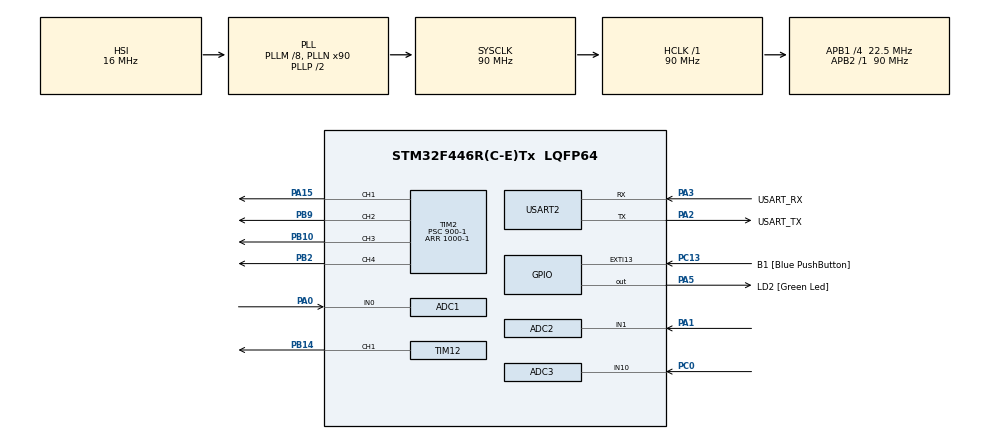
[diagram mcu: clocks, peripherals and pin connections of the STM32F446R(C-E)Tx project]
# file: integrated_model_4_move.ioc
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ADC1.Channel-0\#ChannelRegularConversion=ADC_CHANNEL_0
ADC1.ClockPrescaler=ADC_CLOCK_SYNC_PCLK_DIV4
ADC1.NbrOfConversionFlag=1
ADC1.Rank-0\#ChannelRegularConversion=1
ADC1.SamplingTime-0\#ChannelRegularConversion=ADC_SAMPLETIME_3CYCLES
ADC1.master=1
ADC2.Channel-0\#ChannelRegularConversion=ADC_CHANNEL_1
ADC2.ClockPrescaler=ADC_CLOCK_SYNC_PCLK_DIV4
ADC2.NbrOfConversionFlag=1
ADC2.Rank-0\#ChannelRegularConversion=1
ADC2.SamplingTime-0\#ChannelRegularConversion=ADC_SAMPLETIME_3CYCLES
ADC3.Channel-0\#ChannelRegularConversion=ADC_CHANNEL_10
ADC3.ClockPrescaler=ADC_CLOCK_SYNC_PCLK_DIV4
ADC3.NbrOfConversionFlag=1
ADC3.Rank-0\#ChannelRegularConversion=1
ADC3.SamplingTime-0\#ChannelRegularConversion=ADC_SAMPLETIME_3CYCLES
Mcu.Family=STM32F4
Mcu.Name=STM32F446R(C-E)Tx
Mcu.Package=LQFP64
NVIC.ADC_IRQn=true\:0\:0\:false\:false\:true\:true\:true\:true
NVIC.PriorityGroup=NVIC_PRIORITYGROUP_0
NVIC.TIM1_TRG_COM_TIM11_IRQn=true\:0\:0\:false\:false\:true\:true\:true\:true
NVIC.TIM1_UP_TIM10_IRQn=true\:0\:0\:false\:false\:true\:true\:true\:true
NVIC.TIM2_IRQn=true\:0\:0\:false\:false\:true\:true\:true\:true
NVIC.TIM8_BRK_TIM12_IRQn=true\:0\:0\:false\:false\:true\:true\:true\:true
NVIC.TIM8_TRG_COM_TIM14_IRQn=true\:0\:0\:false\:false\:true\:true\:true\:true
NVIC.TIM8_UP_TIM13_IRQn=true\:0\:0\:false\:false\:true\:true\:true\:true
PA0-WKUP.Signal=ADCx_IN0
PA1.Signal=ADCx_IN1
PA13.GPIO_Label=TMS
PA13.Mode=Serial_Wire
PA13.Signal=SYS_JTMS-SWDIO
PA14.GPIO_Label=TCK
PA14.Mode=Serial_Wire
PA14.Signal=SYS_JTCK-SWCLK
PA15.Signal=S_TIM2_CH1_ETR
PA2.GPIO_Label=USART_TX
PA2.Mode=Asynchronous
PA2.Signal=USART2_TX
PA3.GPIO_Label=USART_RX
PA3.Mode=Asynchronous
PA3.Signal=USART2_RX
PA5.GPIO_Label=LD2 [Green Led]
PA5.Signal=GPIO_Output
PB10.Signal=S_TIM2_CH3
PB14.Signal=S_TIM12_CH1
PB2.Signal=S_TIM2_CH4
PB3.GPIO_Label=SWO
PB3.Signal=SYS_JTDO-SWO
PB9.Signal=S_TIM2_CH2
PC0.Signal=ADCx_IN10
PC13.GPIO_Label=B1 [Blue PushButton]
PC13.GPIO_ModeDefaultEXTI=GPIO_MODE_IT_FALLING
PC13.Signal=GPXTI13
PC14-OSC32_IN.Mode=LSE-External-Oscillator
PC14-OSC32_IN.Signal=RCC_OSC32_IN
PC15-OSC32_OUT.Mode=LSE-External-Oscillator
PC15-OSC32_OUT.Signal=RCC_OSC32_OUT
PH0-OSC_IN.Mode=HSE-External-Oscillator
PH0-OSC_IN.Signal=RCC_OSC_IN
PH1-OSC_OUT.Mode=HSE-External-Oscillator
PH1-OSC_OUT.Signal=RCC_OSC_OUT
ProjectManager.HeapSize=0x800
ProjectManager.StackSize=0x800
ProjectManager.TargetToolchain=STM32CubeIDE
RCC.48MHZClocksFreq_Value=84000000
RCC.AHBFreq_Value=90000000
RCC.APB1CLKDivider=RCC_HCLK_DIV4
RCC.APB1Freq_Value=22500000
RCC.APB1TimFreq_Value=45000000
RCC.APB2Freq_Value=90000000
RCC.APB2TimFreq_Value=90000000
RCC.CortexFreq_Value=90000000
RCC.FLatency-AdvancedSettings=FLASH_LATENCY_2
RCC.HCLKFreq_Value=90000000
RCC.HSE_VALUE=8000000
RCC.HSI_VALUE=16000000
RCC.PLLM=8
RCC.PLLN=90
RCC.SYSCLKFreq_VALUE=90000000
RCC.SYSCLKSource=RCC_SYSCLKSOURCE_PLLCLK
RCC.USBFreq_Value=90000000
RCC.VCOOutputFreq_Value=180000000
SH.ADCx_IN0.0=ADC1_IN0,IN0
SH.ADCx_IN1.0=ADC2_IN1,IN1
SH.ADCx_IN10.0=ADC3_IN10,IN10
SH.S_TIM12_CH1.0=TIM12_CH1,PWM Generation1 CH1
SH.S_TIM2_CH1_ETR.0=TIM2_CH1,PWM Generation1 CH1
SH.S_TIM2_CH2.0=TIM2_CH2,PWM Generation2 CH2
SH.S_TIM2_CH3.0=TIM2_CH3,PWM Generation3 CH3
SH.S_TIM2_CH4.0=TIM2_CH4,PWM Generation4 CH4
STMicroelectronics.X-CUBE-AI.8.0.1.ActivationBufferSizeList=76
STMicroelectronics.X-CUBE-AI.8.0.1.ActivationBuffers=pool0
STMicroelectronics.X-CUBE-AI.8.0.1.ActivationNames=pool0
STMicroelectronics.X-CUBE-AI.8.0.1.ActivationSizes=AI_NETWORK_DATA_ACTIVATION_1_SIZE
STMicroelectronics.X-CUBE-AI.8.0.1.HeapSize=0x800
STMicroelectronics.X-CUBE-AI.8.0.1.InternalRamActivationBufferMaxSize=AI_NETWORK_DATA_ACTIVATIONS_SIZE
STMicroelectronics.X-CUBE-AI.8.0.1.LatestDirectoryUsed-d0ceae4381f5af6d3a112abc9d57ed1af1215f2bdab2fd25595786534e137b8e=F\:\\Graduation Project\\Git_foulder\\5_Movements\\Model\\2 sensors
STMicroelectronics.X-CUBE-AI.8.0.1.MaximumNumberOfInputLayer=1
STMicroelectronics.X-CUBE-AI.8.0.1.MaximumNumberOfOutputLayer=1
STMicroelectronics.X-CUBE-AI.8.0.1.MaximumSizeOfInputLayer=1
STMicroelectronics.X-CUBE-AI.8.0.1.MaximumSizeOfOutputLayer=1
STMicroelectronics.X-CUBE-AI.8.0.1.ModelActualCompression-d0ceae4381f5af6d3a112abc9d57ed1af1215f2bdab2fd25595786534e137b8e=0.0
STMicroelectronics.X-CUBE-AI.8.0.1.ModelCompression-d0ceae4381f5af6d3a112abc9d57ed1af1215f2bdab2fd25595786534e137b8e=None
STMicroelectronics.X-CUBE-AI.8.0.1.ModelFlashOccupation-d0ceae4381f5af6d3a112abc9d57ed1af1215f2bdab2fd25595786534e137b8e=31436
STMicroelectronics.X-CUBE-AI.8.0.1.ModelHashList=d0ceae4381f5af6d3a112abc9d57ed1af1215f2bdab2fd25595786534e137b8e
STMicroelectronics.X-CUBE-AI.8.0.1.ModelKind-d0ceae4381f5af6d3a112abc9d57ed1af1215f2bdab2fd25595786534e137b8e=KERAS
STMicroelectronics.X-CUBE-AI.8.0.1.ModelMacc-d0ceae4381f5af6d3a112abc9d57ed1af1215f2bdab2fd25595786534e137b8e=253
STMicroelectronics.X-CUBE-AI.8.0.1.ModelName-d0ceae4381f5af6d3a112abc9d57ed1af1215f2bdab2fd25595786534e137b8e=network
STMicroelectronics.X-CUBE-AI.8.0.1.ModelNameList=network
STMicroelectronics.X-CUBE-AI.8.0.1.ModelRamOccupation-d0ceae4381f5af6d3a112abc9d57ed1af1215f2bdab2fd25595786534e137b8e=76
STMicroelectronics.X-CUBE-AI.8.0.1.ModelStructureFile-d0ceae4381f5af6d3a112abc9d57ed1af1215f2bdab2fd25595786534e137b8e=F\:\\Graduation Project\\Git_foulder\\5_Movements\\Model\\2 sensors\\model_10_7_2_4_movement_4.h5
STMicroelectronics.X-CUBE-AI.8.0.1.ModelType-d0ceae4381f5af6d3a112abc9d57ed1af1215f2bdab2fd25595786534e137b8e=Saved model
STMicroelectronics.X-CUBE-AI.8.0.1.ReadyForCodeGeneration=true
STMicroelectronics.X-CUBE-AI.8.0.1.StackSize=0x800
STMicroelectronics.X-CUBE-AI.8.0.1.WorkingBufferStartAddrList=0xFFFFFFFF
STMicroelectronics.X-CUBE-AI.8.0.1.XAaCUBEAaAICcArtificialOoIntelligenceJjCore=true
STMicroelectronics.X-CUBE-AI.8.0.1.copyWeightToRam=false
STMicroelectronics.X-CUBE-AI.8.0.1.copyWeightToRam-d0ceae4381f5af6d3a112abc9d57ed1af1215f2bdab2fd25595786534e137b8e=false
STMicroelectronics.X-CUBE-AI.8.0.1.customLayerConfigEnabled=false
STMicroelectronics.X-CUBE-AI.8.0.1.customLayerConfigEnabled-d0ceae4381f5af6d3a112abc9d57ed1af1215f2bdab2fd25595786534e137b8e=false
STMicroelectronics.X-CUBE-AI.8.0.1.useInputAllocation=true
STMicroelectronics.X-CUBE-AI.8.0.1.useInputAllocation-d0ceae4381f5af6d3a112abc9d57ed1af1215f2bdab2fd25595786534e137b8e=true
STMicroelectronics.X-CUBE-AI.8.0.1.useOutputAllocation=true
STMicroelectronics.X-CUBE-AI.8.0.1.useOutputAllocation-d0ceae4381f5af6d3a112abc9d57ed1af1215f2bdab2fd25595786534e137b8e=true
TIM12.Channel-PWM\ Generation1\ CH1=TIM_CHANNEL_1
TIM12.Period=1000-1
TIM12.Prescaler=900-1
TIM2.Channel-PWM\ Generation1\ CH1=TIM_CHANNEL_1
TIM2.Channel-PWM\ Generation2\ CH2=TIM_CHANNEL_2
TIM2.Channel-PWM\ Generation3\ CH3=TIM_CHANNEL_3
TIM2.Channel-PWM\ Generation4\ CH4=TIM_CHANNEL_4
TIM2.Period=1000-1
TIM2.Prescaler=900-1
USART2.VirtualMode=VM_ASYNC
VP_CRC_VS_CRC.Mode=CRC_Activate
VP_STMicroelectronics.X-CUBE-AI_VS_ArtificialOoIntelligenceJjXAaCUBEAaAI_8.0.1.Mode=ArtificialOoIntelligenceJjXAaCUBEAaAI
VP_TIM10_VS_ClockSourceINT.Mode=Enable_Timer
VP_TIM11_VS_ClockSourceINT.Mode=Enable_Timer
VP_TIM12_VS_ClockSourceINT.Mode=Internal
VP_TIM13_VS_ClockSourceINT.Mode=Enable_Timer
VP_TIM14_VS_ClockSourceINT.Mode=Enable_Timer
VP_TIM2_VS_ClockSourceINT.Mode=Internal
board=NUCLEO-F446RE

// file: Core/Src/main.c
/* USER CODE BEGIN Header */
/**
 **************************
 * @file           : main.c
 * @brief          : Main program body
 **************************
 * @attention
 *
 * Copyright (c) 2023 STMicroelectronics.
 * All rights reserved.
 *
 * This software is licensed under terms that can be found in the LICENSE file
 * in the root directory of this software component.
 * If no LICENSE file comes with this software, it is provided AS-IS.
 *
 **************************
 */
/* USER CODE END Header */
#include "main.h"
#include "adc.h"
#include "crc.h"
#include "tim.h"
#include "usart.h"
#include "gpio.h"

/* USER CODE BEGIN Includes */
#include "PWM.h"
#include "MAPPING.h"
#include "servo.h"
#include "FEAT_EXT.h"
#include "NORM_interface.h"

#include "sensor_readings.h"
#include "app_x-cube-ai.h"

#include <stdio.h>

#include "network.h"
#include "network_data.h"
#include "movements.h"
/* USER CODE END Includes */

/* USER CODE BEGIN PD */
#define Vth 				40

#define MODEL_THRESHOLD		0.5

/* USER CODE END PD */

/* USER CODE BEGIN PV */
uint32_t sensor1;
uint32_t sensor2;
uint32_t sensor3;
uint32_t sensor;
float Fest,Gun,OK,Good,Two,Rest;
float arr[4] = {0};
int32_t Mode = 0;
/* USER CODE END PV */

void SystemClock_Config(void);

/* USER CODE BEGIN 0 */
void HAL_TIM_PeriodElapsedCallback(TIM_HandleTypeDef *htim)
{
	if (htim->Instance == TIM10)
	{
		HAL_GPIO_TogglePin(GPIOA, GPIO_PIN_5);
	}
	else if (htim->Instance == TIM11)
	{
		HAL_GPIO_TogglePin(GPIOA, GPIO_PIN_5);
	}

	else if (htim->Instance == TIM13)
	{
		HAL_GPIO_TogglePin(GPIOA, GPIO_PIN_5);
	}
	else if (htim->Instance == TIM14)
	{
		HAL_GPIO_TogglePin(GPIOA, GPIO_PIN_5);
	}
}

/********	Global Variables	********/
static ai_handle network = AI_HANDLE_NULL;

AI_ALIGNED(32)
static ai_u8 activations[AI_NETWORK_DATA_ACTIVATIONS_SIZE];

AI_ALIGNED(32)
static ai_float in_data[AI_NETWORK_IN_1_SIZE];

AI_ALIGNED(32)
static ai_float out_data[AI_NETWORK_OUT_1_SIZE];

static ai_buffer *ai_input;
static ai_buffer *ai_output;

int Model_Init(void)
{
	ai_error err;
	const ai_handle acts[] = { activations };
	err = ai_network_create_and_init(&network, acts, NULL);

	ai_input = ai_network_inputs_get(network, NULL);
	ai_output = ai_network_outputs_get(network, NULL);

	return 0;
}

int Model_Run(const void *in_data, void *out_data)
{
	ai_i32 n_batch;
	ai_error err;

	/* 1 - Update IO handlers with the data payload */
	ai_input[0].data = AI_HANDLE_PTR(in_data);
	ai_output[0].data = AI_HANDLE_PTR(out_data);

	/* 2 - Perform the inference */
	n_batch = ai_network_run(network, &ai_input[0], &ai_output[0]);
	if (n_batch != 1) {
		err = ai_network_get_error(network);
	};

	return 0;
}
/* USER CODE END 0 */

int main(void)
{
	/* USER CODE BEGIN 1 */
	uint32_t Local_u32Counter,Local_u32_RealData[3][250],Local_u32AvgCounter;

	uint8_t Local_u8Avg = 5;
	uint8_t Local_u8Max,Local_u8ModeArr[Local_u8Avg],Local_u8Sum=0;
	float Feat_f32Arr[3][6] , Norm_f32Arr[3][6];

	/* USER CODE END 1 */

	/* MCU Configuration--------------------------------------------------------*/

	/* Reset of all peripherals, Initializes the Flash interface and the Systick. */
	HAL_Init();

	/* Configure the system clock */
	SystemClock_Config();

	/* Initialize all configured peripherals */
	MX_GPIO_Init();
	MX_USART2_UART_Init();
	MX_ADC1_Init();
	MX_ADC2_Init();
	MX_ADC3_Init();
	MX_CRC_Init();
	MX_TIM2_Init();
	MX_TIM10_Init();
	MX_TIM11_Init();
	MX_TIM12_Init();
	MX_TIM13_Init();
	MX_TIM14_Init();
	/* USER CODE BEGIN 2 */
	Model_Init();

	/* Start GPs Timers */
	HAL_TIM_Base_Start_IT(&htim10);
	HAL_TIM_Base_Start_IT(&htim11);
	HAL_TIM_Base_Start_IT(&htim13);
	HAL_TIM_Base_Start_IT(&htim14);

	/* Initialize PWM Timers*/
	HAL_TIM_PWM_Start(&htim2, TIM_CHANNEL_1);
	HAL_TIM_PWM_Start(&htim2, TIM_CHANNEL_2);
	HAL_TIM_PWM_Start(&htim2, TIM_CHANNEL_3);
	HAL_TIM_PWM_Start(&htim2, TIM_CHANNEL_4);
	HAL_TIM_PWM_Start(&htim12, TIM_CHANNEL_1);
	//
	//	SERVO_t Servo1,Servo2,Servo3,Servo4,Servo5;
	//	Servo1.Pin = Servo_PA15;
	//	Servo2.Pin = Servo_PB10;
	//	Servo3.Pin = Servo_PB14;
	//	Servo4.Pin = Servo_PB2;
	//	Servo5.Pin = Servo_PB9;
	SERVO_t Servo1, Servo2, Servo3, Servo4, Servo5;
	Servo1.Pin = Servo_PA15;
	Servo2.Pin = Servo_PB10;
	Servo3.Pin = Servo_PB14;
	Servo4.Pin = Servo_PB2;
	Servo5.Pin = Servo_PB9;
//	init_servo();
	/*********	Testing	*********/
	uint32_t Move2[250] = {0};
	uint32_t Move1[250] = {
			664,  167,   13,   82,  340,  865,  469,  663,  144,  316,   15,
			356,  513,  560,  258,  108,  409,  456,  110,  383,  240,  227,
			314,  866, 1667,  156,  419,  760,   32,  441,  432,  307,  294,
			169,  234,  436,  703,  391,   82,  345,  100,  131,   58,  362,
			222,  323,   47,   41,   40,  273,  141,  405,  805,  471,  468,
			11,  127,  344,  178,  107,    5,  329,   80,   46,  190,    5,
			411,   64,   65,  180,  133,  367,  590,  196,   61,   11,  170,
			144,  454,  460,  188,  431,  112,  375,  208,  198,  139,    2,
			131,   52,   39,  155,   38,  137,  289,  535,  144,  305,  387,
			163, 1396,   43,  178,  219,  563,  268,  846,   62,  224,   37,
			318,  126,  535,  126,  221,  123,   41,    4,  100,  156,  514,
			145,  116,  159,   29,  171,   39,   66,  182,  332,   63,   85,
			7,  112,   58,   81,  130,  192,  198,  609,   57,  108,   15,
			106,  111,   92,   55,  100,  207,   88,  228,  254,   98,  250,
			63,    4,   80,  271,  228,   11,    1,   71,   95,   15,  656,
			275,  164,  150,  729,   85,   54,   71,   44,   34,   93,  220,
			86,  309,  428,   39,  285,  440,   86,  203,  254,   79,  156,
			12,  582,  275,  235,  481,   99,  190,    2,   93,  176,   96,
			250,  333,  269,   94,  346,  757,   43,  475,  179,  474,  198,
			227,  353,  159,   27,  233,   95,  407,  248,  152,  249,   68,
			276,   79,    5,  217,   95,   29,    8,  104,   20,  156,  189,
			146,   93,  125,   96,    5,  160,   51, 1495, 1831,   71,  599,
			181,  250,  219,  246,   47,  213,   23,  225
	};

	uint32_t Move0[SENSOR_NUM][250] = {
			{    0,    0,    0,    0,   42,    0,    0,    0,    0,    0,    0,
					0,    0,  185,    0,    0,    0,    0,   83,    0,  100,  411,
					0,    0,  616,  500,  147,    0,    0,   65,    0,    0,    0,
					0,    0,   21,   78,    0,    0,  790,  128,    0,    0,    0,
					322,  379,    0,    0,    0,    0,  577,  204,    0,    0,    0,
					0,  319,    0,    0,    0,    0,    0,    0,    0,    0,  293,
					0,    0,    0,    0,   53,    0,    0,    0,    0,   34,    0,
					26,    0,    0,  165,  123,    0,    0,    0,   57,  127,    0,
					0,    0,    0,    0,    0,    0,    0,  254,    0,    0,   74,
					0,    0,  216,    0,    0,    0,  272,    0,    0,    0,    0,
					0,    0,    0,    0,  303,  333,    0,    0,    0,    0,    0,
					0,    0,   53,    0,    0,    0,    0,   86,    0,    0,    0,
					0,    0,    0,  243,    0,    0,  149,    0,    0,    0,    0,
					16,    0,    0,  514,  248,   15,    0,    0,  219,   54,    0,
					0,    0,    0,    0,    0,    0,    0,    0,    0,    0,  181,
					155,    0,    0,  402,    0,  103,    0,    0,    0,    0,    0,
					0,    0,   30,  621,    0,    0,    0,  242,  419,   62,    0,
					55,    0,    0, 1211,  128,  571,  363,    0,    0,    0,    0,
					98,  327,    0,    0,    0,    0,    0,    0,    0,    0,    0,
					0,    0,   52,    0,    0,    0,    0,    0,  120,   84,    0,
					0,   25,    0,  552,  494,    0,    0,  410,  299,  419,    0,
					0,    0,    0,  448,  321,    0,    0,    0,    0,   38,    0,
					24,    0,    0,    0,   55,   47,    0,   86},
					{  0.,    0.,  192.,    0.,  309.,  566.,  631.,  238.,    0.,
							0.,  202.,    5.,  175.,    0.,    0.,    0.,  172.,    0.,
							0.,  106.,    0.,   71.,    0.,    0.,    0.,  105.,  650.,
							3.,    0.,   24.,    0.,  134.,    0.,    0.,  306.,    0.,
							81.,   39.,    0.,    0.,   55.,    0.,    0.,    0.,    0.,
							10.,    0.,    0.,    0.,   13.,  582.,  235.,    0.,    0.,
							101.,    0.,    0.,    0.,    0.,  377.,  112.,  312.,    0.,
							0.,    0.,  494.,   34.,    0.,    0.,  228.,    0.,    0.,
							349.,    0.,  128.,   68.,  301.,  178.,    0.,  343.,    0.,
							489.,  581.,    0.,  261.,  229.,  212.,  408.,    0.,  248.,
							504.,    0.,    0.,    0.,    0.,  168.,    0.,    0.,    0.,
							0.,  156.,    0.,    0.,   82.,    9.,   46.,    0.,    0.,
							0.,    0.,   52.,    0.,    0.,    0.,   65.,  168.,  108.,
							0.,   13.,    0.,    0.,   11.,  208.,  145.,    0.,    0.,
							0.,  176.,  427.,  204.,    0.,    0.,   73.,  130.,   34.,
							108.,    0.,  362.,   24.,    0.,    0.,    0.,  225.,   91.,
							0.,    0.,  770.,  301.,    0.,    0.,    0.,  490.,   24.,
							149.,    0.,    0.,  351.,  151.,    0.,  331.,  228.,    0.,
							22.,   16.,    0.,  355.,    0.,    0.,  133.,  242.,   36.,
							0.,    0.,   92.,  408.,   80.,    0.,    0.,  286.,  284.,
							0.,    0.,    0.,  361.,    4.,  364.,    0.,  143.,    0.,
							0.,  139.,  606.,  412.,  277.,  979.,    0.,    0.,   17.,
							0., 1165.,    0.,   97.,   81.,   29.,  250.,    0.,  560.,
							0.,    0.,    0.,    0.,  181.,    0.,    0.,    0.,  112.,
							226.,  657.,    0.,    0.,    0.,  791.,  283., 1183., 1460.,
							0.,    0.,  314., 1105.,  723.,   72.,    0.,    0.,    0.,
							579.,  594.,    0.,    0.,    0.,  103.,    0.,  138.,    0.,
							0.,    0.,  173.,  181.,  368.,   64.,  125.},
							{   2, 2343,  198,  757,  359,  553,  152,    0,    0,  292,  896,
									113,   53,    0,  226,  185,   31,  472,  422,    0,   32,   15,
									172,    0,  463,  535, 1535,   45,   52,   93,   59,  330,   94,
									180,   47,   29,   21,  149,    0,    5,  103,  200,  105,    1,
									70,  346,   54,  179,  782,  162,    0,   37,   10,   52,    0,
									289,   78,   95,    0,   42,   97,  216,  184,   76,  195,  269,
									16,    0,  120,  283,  717,   58,  213,   16,    1,   17,  507,
									1081,   92,  368,  173,    0,  745,    5,   30,   12,  650,  281,
									74,   83,    0,    9,   82,    0,  161,   18,    0,   68,  404,
									18,  392,  243,  454,  456,  147,    4,    0,   10,  362,    0,
									268,  228,    2,   60,    0,   11,  579,  180,  193,    0,    4,
									212,    3,  328,   39,  119,  183,   59,   87,   91,    7,  243,
									190,    0,   10,   85,   12,   37,   50,    5,  536,  116,  439,
									66,  158,   14,  141,   98,  335,  129,  481,   83,  215,   53,
									7,   44,  423,   26,  198,    0,  202,   14,   10,   45,  442,
									325,   33,  265,    6,   90,   11,  850,   64,  386,  188,  196,
									0,   19,   17,   93,    1,    1,  231,    0,   87,  209,   36,
									89,   13,  375,  212,  260,   17,    1,  157,   15,  739,  406,
									211,  250,  357,  149,   90,   32,   27,  146,    1,   44,    0,
									25,  246,    0,    0,    6,  566,   17,    0,  217,  239,    0,
									10,   12,  294,  685,  207,  107,  167,  146,    1,   37,  109,
									408,  283,  144,  310,   40,    2,    0,   81,   20,   57,   60,
									90,    0,  167,  318,  569,   72,    4,   49}};

	FEAT_EXT_f32_AllFeat(Move0 ,*Feat_f32Arr);
	NORM_f32_AllNorm(*Feat_f32Arr, *Norm_f32Arr);

	/*Model Running*/

	float Local_f32KoftaFeat[18],Local_f32KoftaNorm[18];

	//	Local_f32KoftaFeat[VAR_IDX ] = FEAT_EXT_f32_Variance(Move0[0],DATA_SIZE);
	//	Local_f32KoftaFeat[RMS_IDX ] = FEAT_EXT_f32_RMS(Local_f32KoftaFeat[VAR_IDX]);
	//	Local_f32KoftaFeat[MEAN_IDX] = FEAT_EXT_f32_Mean(Move0[0],DATA_SIZE);
	//	Local_f32KoftaFeat[SSC_IDX] = FEAT_EXT_u32_SlopeSignChange(Move0[0],DATA_SIZE);
	//	Local_f32KoftaFeat[ZC_IDX  ] = FEAT_EXT_u32_ZeroCrossing(Move0[0],DATA_SIZE) ;
	//	Local_f32KoftaFeat[WVL_IDX ] = FEAT_EXT_u32_WaveformLength(Move0[0],DATA_SIZE);
	//
	//	Local_f32KoftaFeat[VAR_IDX+6] = FEAT_EXT_f32_Variance(Move0[1],DATA_SIZE);
	//	Local_f32KoftaFeat[RMS_IDX+6] = FEAT_EXT_f32_RMS(Local_f32KoftaFeat[VAR_IDX+6]);
	//	Local_f32KoftaFeat[MEAN_IDX+6] = FEAT_EXT_f32_Mean(Move0[1],DATA_SIZE);
	//	Local_f32KoftaFeat[SSC_IDX+6] = FEAT_EXT_u32_SlopeSignChange(Move0[1],DATA_SIZE);
	//	Local_f32KoftaFeat[ZC_IDX+6] = FEAT_EXT_u32_ZeroCrossing(Move0[1],DATA_SIZE) ;
	//	Local_f32KoftaFeat[WVL_IDX+6] = FEAT_EXT_u32_WaveformLength(Move0[1],DATA_SIZE);
	//
	//
	//	Local_f32KoftaFeat[VAR_IDX+12] = FEAT_EXT_f32_Variance(Move0[2],DATA_SIZE);
	//	Local_f32KoftaFeat[RMS_IDX+12] = FEAT_EXT_f32_RMS(Local_f32KoftaFeat[VAR_IDX+12]);
	//	Local_f32KoftaFeat[MEAN_IDX+12] = FEAT_EXT_f32_Mean(Move0[2],DATA_SIZE);
	//	Local_f32KoftaFeat[SSC_IDX+12] = FEAT_EXT_u32_SlopeSignChange(Move0[2],DATA_SIZE);
	//	Local_f32KoftaFeat[ZC_IDX+12] = FEAT_EXT_u32_ZeroCrossing(Move0[2],DATA_SIZE) ;
	//	Local_f32KoftaFeat[WVL_IDX+12] = FEAT_EXT_u32_WaveformLength(Move0[2],DATA_SIZE);
	//
	//	Local_f32KoftaNorm[VAR_IDX ] = NORM_f32_Variance(SNS1, Local_f32KoftaFeat[VAR_IDX]);
	//	Local_f32KoftaNorm[RMS_IDX ] = NORM_f32_RMS(SNS1, Local_f32KoftaFeat[RMS_IDX]);
	//	Local_f32KoftaNorm[MEAN_IDX] = NORM_f32_Mean(SNS1, Local_f32KoftaFeat[MEAN_IDX]);
	//	Local_f32KoftaNorm[SSC_IDX]  = NORM_f32_SlopeSignChange(SNS1, Local_f32KoftaFeat[SSC_IDX]);
	//	Local_f32KoftaNorm[ZC_IDX  ] = NORM_f32_ZeroCrossing(SNS1, Local_f32KoftaFeat[ZC_IDX]);
	//	Local_f32KoftaNorm[WVL_IDX ] = NORM_f32_WaveformLength(SNS1, Local_f32KoftaFeat[WVL_IDX]);
	//
	//
	//
	//	Local_f32KoftaNorm[VAR_IDX+6] = NORM_f32_Variance(SNS2, Local_f32KoftaFeat[VAR_IDX+6]);
	//	Local_f32KoftaNorm[RMS_IDX+6] = NORM_f32_RMS(SNS2, Local_f32KoftaFeat[RMS_IDX+6]);
	//	Local_f32KoftaNorm[MEAN_IDX+6] = NORM_f32_Mean(SNS2, Local_f32KoftaFeat[MEAN_IDX+6]);
	//	Local_f32KoftaNorm[SSC_IDX+6]  = NORM_f32_SlopeSignChange(SNS2, Local_f32KoftaFeat[SSC_IDX+6]);
	//	Local_f32KoftaNorm[ZC_IDX+6] = NORM_f32_ZeroCrossing(SNS2, Local_f32KoftaFeat[ZC_IDX+6]);
	//	Local_f32KoftaNorm[WVL_IDX+6] = NORM_f32_WaveformLength(SNS2, Local_f32KoftaFeat[WVL_IDX+6]);
	//
	//
	//	Local_f32KoftaNorm[VAR_IDX+12] = NORM_f32_Variance(SNS2, Local_f32KoftaFeat[VAR_IDX+12]);
	//	Local_f32KoftaNorm[RMS_IDX+12] = NORM_f32_RMS(SNS3, Local_f32KoftaFeat[RMS_IDX+12]);
	//	Local_f32KoftaNorm[MEAN_IDX+12] = NORM_f32_Mean(SNS3, Local_f32KoftaFeat[MEAN_IDX+12]);
	//	Local_f32KoftaNorm[SSC_IDX+12]  = NORM_f32_SlopeSignChange(SNS3, Local_f32KoftaFeat[SSC_IDX+12]);
	//	Local_f32KoftaNorm[ZC_IDX+12] = NORM_f32_ZeroCrossing(SNS3, Local_f32KoftaFeat[ZC_IDX+12]);
	//	Local_f32KoftaNorm[WVL_IDX+12] = NORM_f32_WaveformLength(SNS3, Local_f32KoftaFeat[WVL_IDX+12]);
	//
	//	/*Movement 1 Data*/
	//	in_data[RMS_IDX]  	= Local_f32KoftaNorm[RMS_IDX];
	//	in_data[MEAN_IDX] 	= Local_f32KoftaNorm[MEAN_IDX];
	//	in_data[VAR_IDX]  	= Local_f32KoftaNorm[VAR_IDX];
	//	in_data[SSC_IDX] 	= Local_f32KoftaNorm[SSC_IDX];
	//	in_data[ZC_IDX]   	= Local_f32KoftaNorm[ZC_IDX];
	//	in_data[WVL_IDX]  	= Local_f32KoftaNorm[WVL_IDX];
	//
	//	in_data[RMS_IDX+6]  = Local_f32KoftaNorm[RMS_IDX+6];
	//	in_data[VAR_IDX+6]  = Local_f32KoftaNorm[VAR_IDX+6];
	//	in_data[MEAN_IDX+6] = Local_f32KoftaNorm[MEAN_IDX+6];
	//	in_data[SSC_IDX+6] 	= Local_f32KoftaNorm[SSC_IDX+6];
	//	in_data[ZC_IDX+6]   = Local_f32KoftaNorm[ZC_IDX+6];
	//	in_data[WVL_IDX+6]  = Local_f32KoftaNorm[WVL_IDX+6];
	//
	//	in_data[RMS_IDX+12]  = Local_f32KoftaNorm[RMS_IDX+12];
	//	in_data[VAR_IDX+12]  = Local_f32KoftaNorm[VAR_IDX+12];
	//	in_data[MEAN_IDX+12] = Local_f32KoftaNorm[MEAN_IDX+12];
	//	in_data[SSC_IDX+12]  = Local_f32KoftaNorm[SSC_IDX+12];
	//	in_data[ZC_IDX+12]   = Local_f32KoftaNorm[ZC_IDX+12];
	//	in_data[WVL_IDX+12]  = Local_f32KoftaNorm[WVL_IDX+12];

	in_data[RMS_IDX]  	= Norm_f32Arr[0][RMS_IDX];
	in_data[VAR_IDX]  	= Norm_f32Arr[0][VAR_IDX];
	in_data[MEAN_IDX] 	= Norm_f32Arr[0][MEAN_IDX];
	in_data[SSC_IDX] 	= Norm_f32Arr[0][SSC_IDX];
	in_data[ZC_IDX]   	= Norm_f32Arr[0][ZC_IDX];
	in_data[WVL_IDX]  	= Norm_f32Arr[0][WVL_IDX];

	in_data[RMS_IDX+6]  =  Norm_f32Arr[1][RMS_IDX];
	in_data[VAR_IDX+6]  =  Norm_f32Arr[1][VAR_IDX];
	in_data[MEAN_IDX+6] =  Norm_f32Arr[1][MEAN_IDX];
	in_data[SSC_IDX+6] 	=  Norm_f32Arr[1][SSC_IDX];
	in_data[ZC_IDX+6]   =  Norm_f32Arr[1][ZC_IDX];
	in_data[WVL_IDX+6]  =  Norm_f32Arr[1][WVL_IDX];
	//
	//	in_data[RMS_IDX+12]  = Norm_f32Arr[2][RMS_IDX];
	//	in_data[VAR_IDX+12]  = Norm_f32Arr[2][VAR_IDX];

	//	in_data[MEAN_IDX+12] = Norm_f32Arr[2][MEAN_IDX];
	//	in_data[SSC_IDX+12]  = Norm_f32Arr[2][SSC_IDX];
	//	in_data[ZC_IDX+12]   = Norm_f32Arr[2][ZC_IDX];
	//	in_data[WVL_IDX+12]  = Norm_f32Arr[2][WVL_IDX];

	Model_Run(in_data, out_data);
	//
	//	Local_u8Max = 0;
	//	for(int i = 0 ;i < 5; i++)
	//	{
	//		if(out_data[i] > out_data[Local_u8Max])
	//		{
	//			Local_u8Max = i;
	//		}
	//	}

	/* USER CODE END 2 */

	/* Infinite loop */
	while (1)
	{

		/* USER CODE BEGIN 3 */
		Servo_void_SetAngle(Servo1,90);
		Servo_void_SetAngle(Servo2,90);
		Servo_void_SetAngle(Servo3,90);
		Servo_void_SetAngle(Servo4,90);
		Servo_void_SetAngle(Servo5,90);
		HAL_Delay(500);

		Servo_void_SetAngle(Servo1,180);
		Servo_void_SetAngle(Servo2,180);
		Servo_void_SetAngle(Servo3,180);
		Servo_void_SetAngle(Servo4,180);
		Servo_void_SetAngle(Servo5,180);
HAL_Delay(500);
		for(Local_u32Counter = 0 ;Local_u32Counter < DATA_SIZE ;)
		{

			sensor1 =  analogRead(&hadc2);
			sensor2 =  analogRead(&hadc3);
			//			sensor3 =  analogRead(&hadc3);
			//			if((sensor1 != 0) && (sensor2 != 0)/* && (sensor3 != 0)*/)
			//			{

			Local_u32_RealData[SNS1][Local_u32Counter] = sensor1;
			Local_u32_RealData[SNS2][Local_u32Counter] = sensor2;
			Local_u32_RealData[SNS3][Local_u32Counter] = 0;
			Local_u32Counter++;
			//			}

			HAL_Delay(2);
		}

		FEAT_EXT_f32_AllFeat(Local_u32_RealData,*Feat_f32Arr);
		NORM_f32_AllNorm(*Feat_f32Arr, *Norm_f32Arr);

		in_data[RMS_IDX]  	= Norm_f32Arr[0][RMS_IDX];
		in_data[VAR_IDX]  	= Norm_f32Arr[0][VAR_IDX];
		in_data[MEAN_IDX] 	= Norm_f32Arr[0][MEAN_IDX];
		in_data[SSC_IDX] 	= Norm_f32Arr[0][SSC_IDX];
		in_data[ZC_IDX]   	= Norm_f32Arr[0][ZC_IDX];
		in_data[WVL_IDX]  	= Norm_f32Arr[0][WVL_IDX];

		in_data[RMS_IDX+6]  =  Norm_f32Arr[1][RMS_IDX];
		in_data[VAR_IDX+6]  =  Norm_f32Arr[1][VAR_IDX];
		in_data[MEAN_IDX+6] =  Norm_f32Arr[1][MEAN_IDX];
		in_data[SSC_IDX+6] 	=  Norm_f32Arr[1][SSC_IDX];
		in_data[ZC_IDX+6]   =  Norm_f32Arr[1][ZC_IDX];
		in_data[WVL_IDX+6]  =  Norm_f32Arr[1][WVL_IDX];
		//
		//		in_data[RMS_IDX+12]  = Norm_f32Arr[2][RMS_IDX];
		//		in_data[VAR_IDX+12]  = Norm_f32Arr[2][VAR_IDX];
		//		in_data[MEAN_IDX+12] = Norm_f32Arr[2][MEAN_IDX];
		//		in_data[SSC_IDX+12]  = Norm_f32Arr[2][SSC_IDX];
		//		in_data[ZC_IDX+12]   = Norm_f32Arr[2][ZC_IDX];
		//		in_data[WVL_IDX+12]  = Norm_f32Arr[2][WVL_IDX];

		Model_Run(in_data, out_data);
		for(int i = 0 ;i < 4; i++)
		{
			if(out_data[i] > out_data[Local_u8Max])
			{
				Local_u8Max = i;
			}
		}

		Two  = out_data[0];
		OK   = out_data[1];
		Fest = out_data[2];
		Rest = out_data[3];

		if(Local_u8Max == 0)
		{
			//			Gun = 100;
			//			Fest = 0;
			//			Two  = 0;
			//			Rest = 0;

			two();
		}
		else if(Local_u8Max == 1)
		{
			//			Fest = 0;
			//			Gun = 0;
			//			OK = 0;
			//			Good = 0;
			//			Two = 100;
			//			Rest = 0
			ok();
		}

		else if (Local_u8Max == 2)
		{
			//			Fest = 100;
			//			Gun = 0;
			//			OK = 0;
			//			Two = 0;
			//			Rest = 0;
			fest();
		}
		else if (Local_u8Max == 3)
		{
			//			Fest = 0;
			//			Gun  = 0;
			//			Two  = 0;
			//			Rest = 100;

			rest();
		}

		Mode = Local_u8Max;
		HAL_Delay(500);
		Mode = 0;
		Local_u8Max = 0;

	}

	/* USER CODE END 3 */
}

void SystemClock_Config(void)
{
	RCC_OscInitTypeDef RCC_OscInitStruct = {0};
	RCC_ClkInitTypeDef RCC_ClkInitStruct = {0};

	/** Configure the main internal regulator output voltage
	 */
	__HAL_RCC_PWR_CLK_ENABLE();
	__HAL_PWR_VOLTAGESCALING_CONFIG(PWR_REGULATOR_VOLTAGE_SCALE3);

	/** Initializes the RCC Oscillators according to the specified parameters
	 * in the RCC_OscInitTypeDef structure.
	 */
	RCC_OscInitStruct.OscillatorType = RCC_OSCILLATORTYPE_HSI;
	RCC_OscInitStruct.HSIState = RCC_HSI_ON;
	RCC_OscInitStruct.HSICalibrationValue = RCC_HSICALIBRATION_DEFAULT;
	RCC_OscInitStruct.PLL.PLLState = RCC_PLL_ON;
	RCC_OscInitStruct.PLL.PLLSource = RCC_PLLSOURCE_HSI;
	RCC_OscInitStruct.PLL.PLLM = 8;
	RCC_OscInitStruct.PLL.PLLN = 90;
	RCC_OscInitStruct.PLL.PLLP = RCC_PLLP_DIV2;
	RCC_OscInitStruct.PLL.PLLQ = 2;
	RCC_OscInitStruct.PLL.PLLR = 2;
	if (HAL_RCC_OscConfig(&RCC_OscInitStruct) != HAL_OK)
	{
		Error_Handler();
	}

	/** Initializes the CPU, AHB and APB buses clocks
	 */
	RCC_ClkInitStruct.ClockType = RCC_CLOCKTYPE_HCLK|RCC_CLOCKTYPE_SYSCLK
			|RCC_CLOCKTYPE_PCLK1|RCC_CLOCKTYPE_PCLK2;
	RCC_ClkInitStruct.SYSCLKSource = RCC_SYSCLKSOURCE_PLLCLK;
	RCC_ClkInitStruct.AHBCLKDivider = RCC_SYSCLK_DIV1;
	RCC_ClkInitStruct.APB1CLKDivider = RCC_HCLK_DIV4;
	RCC_ClkInitStruct.APB2CLKDivider = RCC_HCLK_DIV1;

	if (HAL_RCC_ClockConfig(&RCC_ClkInitStruct, FLASH_LATENCY_2) != HAL_OK)
	{
		Error_Handler();
	}
}

void Error_Handler(void)
{
	__disable_irq();
	while (1)
	{
	}
}
